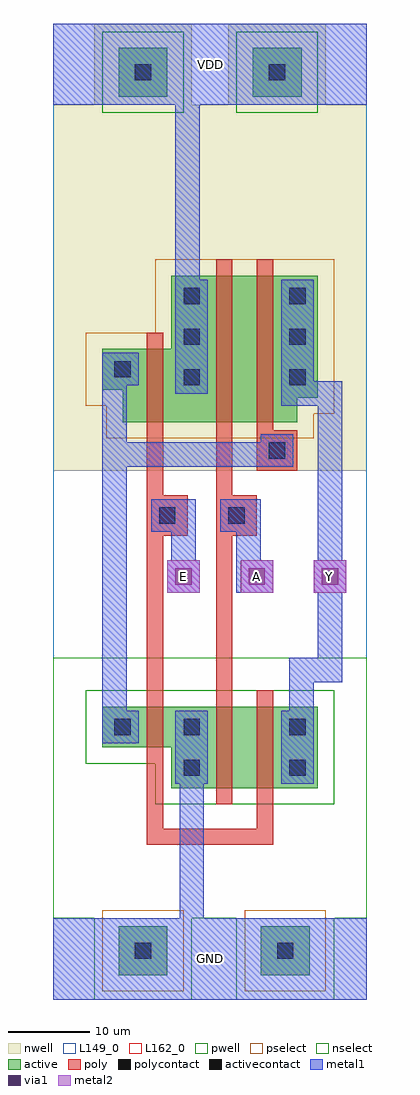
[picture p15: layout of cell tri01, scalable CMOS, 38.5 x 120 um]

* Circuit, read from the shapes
.subckt tri01 A E GND VDD Y
M1 GND E n1 GND nfet w=5u l=2u
M2 n2 A GND GND nfet w=10u l=2u
M3 Y E n2 GND nfet w=10u l=2u
M4 VDD E n1 VDD pfet w=9u l=2u
M5 n3 A VDD VDD pfet w=18u l=2u
M6 Y n1 n3 VDD pfet w=18u l=2u
.ends

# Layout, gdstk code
from math import pi, radians
import gdstk
lib = gdstk.Library(unit=1e-6, precision=1e-09)
def R(c, l, rs):  # rectangles x0, y0, x1, y1
    for r in rs: c.add(gdstk.rectangle(r[:2], r[2:], *l))
def A(c, l, x, y, w, h, nx, ny, dx, dy):  # array of equal rectangles
    R(c, l, [(x+i*dx, y+j*dy, x+i*dx+w, y+j*dy+h) for i in range(nx) for j in range(ny)])
def P(c, l, *ps):  # polygons
    for p in ps: c.add(gdstk.Polygon(p, *l))
pwell = (41, 0)
nwell = (42, 0)
active = (43, 0)
pselect = (44, 0)
nselect = (45, 0)
poly = (46, 0)
polycontact = (47, 0)
activecontact = (48, 0)
metal1 = (49, 0)
via1 = (50, 0)
metal2 = (51, 0)
L149_0 = (149, 0)
L162_0 = (162, 0)

nwell_contact = lib.new_cell('nwell_contact')
R(nwell_contact, nwell, [(-6,-5,6,6)])
R(nwell_contact, active, [(-3,-3,3,3)])
R(nwell_contact, nselect, [(-5,-5,5,5)])
R(nwell_contact, activecontact, [(-1,-1,1,1)])

pwell_contact = lib.new_cell('pwell_contact')
R(pwell_contact, pwell, [(-6,-6,6,5)])
R(pwell_contact, active, [(-3,-3,3,3)])
R(pwell_contact, pselect, [(-5,-5,5,5)])
R(pwell_contact, activecontact, [(-1,-1,1,1)])

via = lib.new_cell('via')
R(via, metal1, [(-2,-2,2,2)])
R(via, via1, [(-1,-1,1,1)])
R(via, metal2, [(-2,-2,2,2)])

tri01 = lib.new_cell('tri01')
R(tri01, pwell, [(0,10,38.5,20), (0,10.5,38.5,42)])
P(tri01, pwell, [(38.5,20),(8.5,20),(8.5,25),(0,25),(0,42),(38.5,42)])
R(tri01, nwell, [(0,65,38.5,110), (0,95,38.5,110)])
P(tri01, nwell, [(0,69),(2.5,69),(2.5,65),(36,65),(36,68),(38.5,68),(38.5,95),(8.5,95),(8.5,86),(0,86)])
P(tri01, active, [(6,75),(8.5,75),(8.5,71),(30,71),(30,74),(32.5,74),(32.5,89),(14.5,89),(14.5,80),(6,80)],
  [(32.5,26),(14.5,26),(14.5,31),(6,31),(6,36),(32.5,36)])
P(tri01, pselect, [(4,73),(6.5,73),(6.5,69),(32,69),(32,72),(34.5,72),(34.5,91),(12.5,91),(12.5,82),(4,82)])
P(tri01, nselect, [(34.5,24),(12.5,24),(12.5,29),(4,29),(4,38),(34.5,38)])
R(tri01, poly, [(20,24,22,26), (25,24,27,26), (20,26,22,36), (25,26,27,36), (11.5,29,13.5,31), (11.5,31,13.5,36), (11.5,36,13.5,38), (20,36,22,38), (25,36,27,38), (11.5,57,16.5,62), (20,57,25,62), (25,65,30,70), (11.5,69,13.5,71), (20,69,22,71), (25,69,27,71), (11.5,71,13.5,80), (20,71,22,89), (25,71,27,89), (11.5,80,13.5,82), (20,89,22,91), (25,89,27,91)])
R(tri01, polycontact, [(13,58.5,15,60.5), (21.5,58.5,23.5,60.5), (26.5,66.5,28.5,68.5)])
A(tri01, activecontact, 16, 75.5, 2, 2, 1, 3, 0, 5)
A(tri01, activecontact, 29, 75.5, 2, 2, 1, 3, 0, 5)
R(tri01, activecontact, [(16,27.5,18,29.5), (29,27.5,31,29.5), (7.5,32.5,9.5,34.5), (16,32.5,18,34.5), (29,32.5,31,34.5), (7.5,76.5,9.5,78.5)])
R(tri01, metal1, [(0,0,38.5,10), (0,0,38.5,10), (15,26.5,19,35.5), (28,26.5,32,35.5), (6.5,31.5,10.5,35.5), (12,57.5,16,61.5), (20.5,57.5,24.5,61.5), (25.5,65.5,29.5,69.5), (15,74.5,19,88.5), (28,74.5,32,88.5), (6.5,75.5,10.5,79.5), (0,110,38.5,120), (0,110,38.5,120)])
A(tri01, metal2, 14, 50, 4, 4, 3, 1, 9, 0)
R(tri01, L149_0, [(0,0,38.5,10), (0,0,38.5,10), (0,0,38.5,120), (12,57.5,16,61.5), (20.5,57.5,24.5,61.5), (25.5,65.5,29.5,69.5), (0,110,38.5,120), (0,110,38.5,120)])
A(tri01, L162_0, 14, 50, 4, 4, 3, 1, 9, 0)
tri01.add(gdstk.FlexPath([(16.5,88.5),(16.5,110)], 3, ends="flush", simple_path=True, layer=149, datatype=0))  # L149_0
tri01.add(gdstk.FlexPath([(28,74.5),(34,74.5),(34,40.5),(30.5,40.5),(30.5,35.5)], 3, ends="flush", simple_path=True, layer=149, datatype=0))  # L149_0
tri01.add(gdstk.FlexPath([(7.5,79.5),(7.5,31.5)], 3, ends="flush", simple_path=True, layer=149, datatype=0))  # L149_0
tri01.add(gdstk.FlexPath([(24,61.5),(24,50)], 3, ends="flush", simple_path=True, layer=149, datatype=0))  # L149_0
tri01.add(gdstk.FlexPath([(16,61.5),(16,50)], 3, ends="flush", simple_path=True, layer=149, datatype=0))  # L149_0
tri01.add(gdstk.FlexPath([(28,67),(9,67)], 3, ends="flush", simple_path=True, layer=149, datatype=0))  # L149_0
tri01.add(gdstk.FlexPath([(17,26.5),(17,10)], 3, ends="flush", simple_path=True, layer=149, datatype=0))  # L149_0
tri01.add(gdstk.FlexPath([(16.5,88.5),(16.5,110)], 3, ends="flush", simple_path=True, layer=49, datatype=0))  # metal1
tri01.add(gdstk.FlexPath([(28,74.5),(34,74.5),(34,40.5),(30.5,40.5),(30.5,35.5)], 3, ends="flush", simple_path=True, layer=49, datatype=0))  # metal1
tri01.add(gdstk.FlexPath([(7.5,79.5),(7.5,31.5)], 3, ends="flush", simple_path=True, layer=49, datatype=0))  # metal1
tri01.add(gdstk.FlexPath([(24,61.5),(24,50)], 3, ends="flush", simple_path=True, layer=49, datatype=0))  # metal1
tri01.add(gdstk.FlexPath([(16,61.5),(16,50)], 3, ends="flush", simple_path=True, layer=49, datatype=0))  # metal1
tri01.add(gdstk.FlexPath([(28,67),(9,67)], 3, ends="flush", simple_path=True, layer=49, datatype=0))  # metal1
tri01.add(gdstk.FlexPath([(17,26.5),(17,10)], 3, ends="flush", simple_path=True, layer=49, datatype=0))  # metal1
tri01.add(gdstk.FlexPath([(12.5,29),(12.5,20),(26,20),(26,24)], 2, ends="flush", simple_path=True, layer=46, datatype=0))  # poly
tri01.add(gdstk.FlexPath([(12.5,69),(12.5,38)], 2, ends="flush", simple_path=True, layer=46, datatype=0))  # poly
tri01.add(gdstk.FlexPath([(21,69),(21,38)], 2, ends="flush", simple_path=True, layer=46, datatype=0))  # poly
tri01.add(gdstk.Reference(nwell_contact, (27.5,114)))
tri01.add(gdstk.Reference(nwell_contact, (11,114)))
tri01.add(gdstk.Reference(pwell_contact, (28.5,6)))
tri01.add(gdstk.Reference(pwell_contact, (11,6)))
tri01.add(gdstk.Reference(via, (25,52), rotation=pi, x_reflection=True))
tri01.add(gdstk.Reference(via, (34,52)))
tri01.add(gdstk.Reference(via, (16,52), rotation=pi, x_reflection=True))
tri01.add(gdstk.Label('E', (16,52), layer=3, texttype=0))
tri01.add(gdstk.Label('A', (25,52), layer=3, texttype=0))
tri01.add(gdstk.Label('Y', (34,52), layer=3, texttype=0))
tri01.add(gdstk.Label('GND', (19.25,5), layer=2, texttype=0))
tri01.add(gdstk.Label('VDD', (19.25,115), layer=2, texttype=0))

lib.write_gds('tri01.gds')
